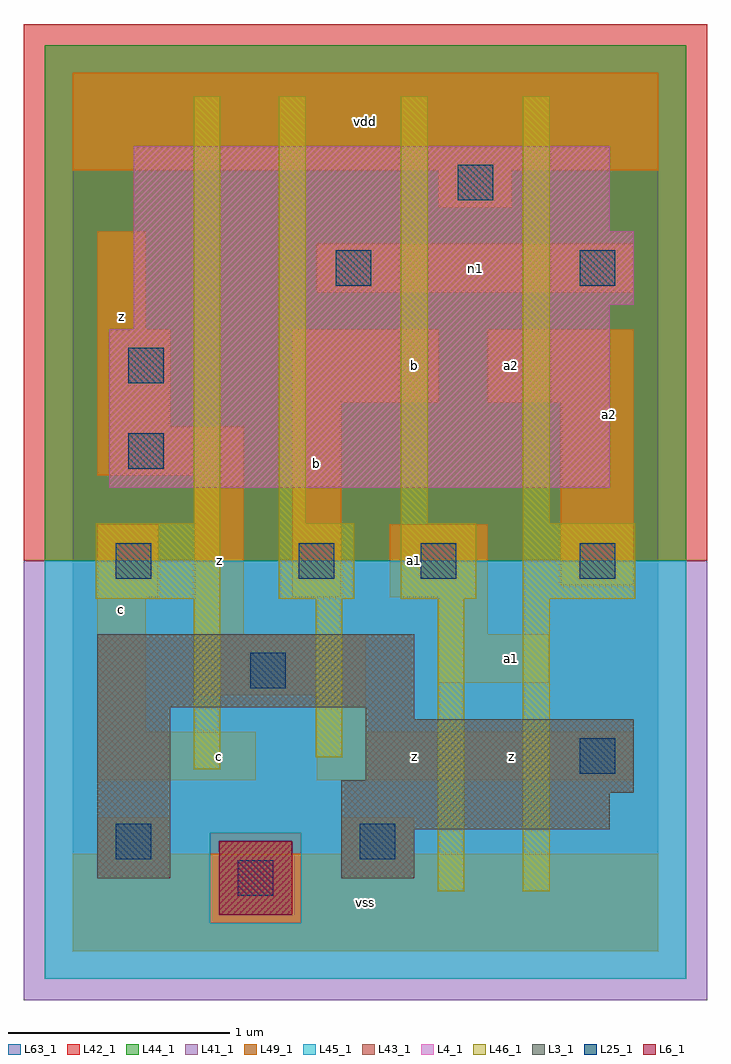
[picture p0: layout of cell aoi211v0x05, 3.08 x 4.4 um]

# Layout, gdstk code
import gdstk
lib = gdstk.Library(unit=1e-6, precision=1e-09)
def R(c, l, rs):  # rectangles x0, y0, x1, y1
    for r in rs: c.add(gdstk.rectangle(r[:2], r[2:], *l))
def A(c, l, x, y, w, h, nx, ny, dx, dy):  # array of equal rectangles
    R(c, l, [(x+i*dx, y+j*dy, x+i*dx+w, y+j*dy+h) for i in range(nx) for j in range(ny)])
L3_1 = (3, 1)
L4_1 = (4, 1)
L6_1 = (6, 1)
L25_1 = (25, 1)
L41_1 = (41, 1)
L42_1 = (42, 1)
L43_1 = (43, 1)
L44_1 = (44, 1)
L45_1 = (45, 1)
L46_1 = (46, 1)
L49_1 = (49, 1)
L63_1 = (63, 1)

aoi211v0x05 = lib.new_cell('aoi211v0x05')
R(aoi211v0x05, L3_1, [(0.11,0.33,0.44,1.1), (1.21,0.33,1.54,0.55), (1.21,0.55,2.42,0.715), (1.21,0.715,2.53,0.77), (1.32,0.77,2.53,1.045), (1.32,1.045,1.54,1.1), (0.11,1.1,1.54,1.43)])
R(aoi211v0x05, L4_1, [(0.165,2.09,2.42,2.805), (0.275,2.805,2.42,2.915), (0.275,2.915,2.53,3.245), (0.275,3.245,2.42,3.63)])
R(aoi211v0x05, L6_1, [(0.66,0.165,0.99,0.495)])
R(aoi211v0x05, L25_1, [(0.745,0.25,0.905,0.41), (0.195,0.415,0.355,0.575), (1.295,0.415,1.455,0.575), (2.285,0.8,2.445,0.96), (0.8,1.185,0.96,1.345), (0.195,1.68,0.355,1.84), (1.02,1.68,1.18,1.84), (1.57,1.68,1.73,1.84), (2.285,1.68,2.445,1.84), (0.25,2.175,0.41,2.335), (0.25,2.56,0.41,2.72), (1.185,3,1.345,3.16), (2.285,3,2.445,3.16), (1.735,3.385,1.895,3.545)])
R(aoi211v0x05, L41_1, [(-0.22,-0.22,2.86,1.76)])
R(aoi211v0x05, L42_1, [(-0.22,1.76,2.86,4.18)])
R(aoi211v0x05, L43_1, [(0.66,0.165,0.99,0.495), (0.11,0.33,0.44,1.1), (1.21,0.33,1.54,0.55), (1.21,0.55,2.42,0.715), (1.21,0.715,2.53,0.77), (1.32,0.77,2.53,1.045), (1.32,1.045,1.54,1.1), (0.11,1.1,1.54,1.43), (0.165,2.09,2.42,2.805), (0.275,2.805,2.42,2.915), (0.275,2.915,2.53,3.245), (0.275,3.245,2.42,3.63)])
R(aoi211v0x05, L44_1, [(0.62,0.125,1.03,0.535), (-0.125,1.76,2.765,4.085)])
R(aoi211v0x05, L45_1, [(-0.125,-0.125,2.765,0.125), (-0.125,0.125,0.62,0.535), (1.03,0.125,2.765,0.535), (-0.125,0.535,2.765,1.76)])
A(aoi211v0x05, L46_1, 0.93, 1.93, 0.12, 1.925, 3, 1, 0.55, 0)
R(aoi211v0x05, L46_1, [(1.645,0.27,1.765,1.59), (2.03,0.27,2.15,1.59), (0.545,0.82,0.665,1.59), (1.095,0.875,1.215,1.59), (0.105,1.59,0.665,1.93), (0.93,1.59,1.27,1.93), (1.48,1.59,1.82,1.93), (2.03,1.59,2.535,1.93), (0.545,1.93,0.665,3.855)])
R(aoi211v0x05, L49_1, [(0,0,2.64,0.44), (0.11,0.44,0.44,0.605), (1.21,0.44,1.54,0.605), (0.11,0.77,0.825,0.99), (1.1,0.77,2.53,0.99), (0.11,0.99,0.33,1.595), (1.1,0.99,1.32,1.155), (0.55,1.155,1.32,1.43), (1.65,1.21,2.145,1.43), (0.55,1.43,0.77,2.145), (1.65,1.43,1.87,1.595), (0.11,1.595,0.385,1.925), (0.99,1.595,1.21,2.475), (1.43,1.595,1.87,1.925), (2.2,1.65,2.53,2.475), (0.11,2.145,0.77,2.365), (0.11,2.365,0.44,2.805), (0.99,2.475,1.65,2.805), (1.87,2.475,2.53,2.805), (0.11,2.805,0.33,3.245), (1.1,2.97,2.53,3.19), (1.65,3.355,1.98,3.52), (0,3.52,2.64,3.96)])
R(aoi211v0x05, L63_1, [(0,0,2.64,3.96)])
aoi211v0x05.add(gdstk.Label('c', (0.22,1.54), layer=49, texttype=1))
aoi211v0x05.add(gdstk.Label('z', (0.22,2.86), layer=49, texttype=1))
aoi211v0x05.add(gdstk.Label('c', (0.66,0.88), layer=49, texttype=1))
aoi211v0x05.add(gdstk.Label('z', (0.66,1.76), layer=49, texttype=1))
aoi211v0x05.add(gdstk.Label('b', (1.1,2.2), layer=49, texttype=1))
aoi211v0x05.add(gdstk.Label('vss', (1.32,0.22), layer=49, texttype=1))
aoi211v0x05.add(gdstk.Label('z', (1.54,0.88), layer=49, texttype=1))
aoi211v0x05.add(gdstk.Label('a1', (1.54,1.76), layer=49, texttype=1))
aoi211v0x05.add(gdstk.Label('b', (1.54,2.64), layer=49, texttype=1))
aoi211v0x05.add(gdstk.Label('vdd', (1.32,3.74), layer=49, texttype=1))
aoi211v0x05.add(gdstk.Label('z', (1.98,0.88), layer=49, texttype=1))
aoi211v0x05.add(gdstk.Label('a1', (1.98,1.32), layer=49, texttype=1))
aoi211v0x05.add(gdstk.Label('a2', (1.98,2.64), layer=49, texttype=1))
aoi211v0x05.add(gdstk.Label('a2', (2.42,2.42), layer=49, texttype=1))
aoi211v0x05.add(gdstk.Label('n1', (1.815,3.08), layer=49, texttype=1))

lib.write_gds('aoi211v0x05.gds')
